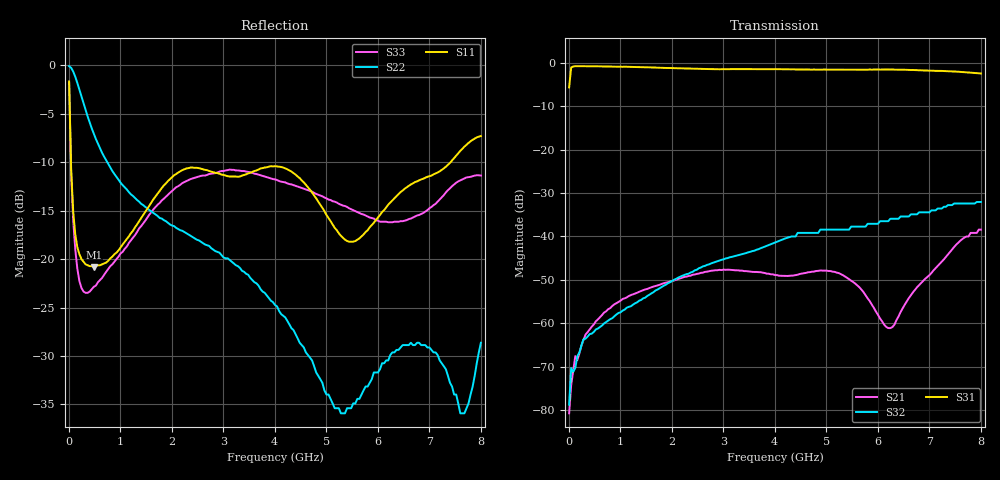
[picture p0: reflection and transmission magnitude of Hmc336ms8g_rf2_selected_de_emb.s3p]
!Hittite Microwave Corporation
!20 Alpha Rd
!Chelmsford, MA 01824
!Tel: 978-250-3343
!Fax: 978-250-3373
!Device: HMC336MS8G, DC - 6 GHz  SPDT Switch in  MSOP8G SMT package
!Misc: Port1=RFC, Port2= RF1, Port3=RF2, RF2 ON, Data taken on a part mounted on 104122-5 Eval PCB,Bias: +5VDC
# MHZ S MA R 50
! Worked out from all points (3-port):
!   201 points, 10 MHz to 8 GHz, reference 50 ohm
!   strongest paths, dB at 10 MHz, 2.007 GHz, 4.005 GHz, 6.003 GHz, 8 GHz:
!     S31: -5.6, -1.2, -1.4, -1.5, -2.4
!     S32: -78.8, -50.3, -41.4, -37.1, -32.0
!     S21: -80.8, -50.3, -48.9, -58.1, -38.4
!   lowest |S11| = -20.8 dB at 489.4 MHz (marker M1), VSWR 1.20, Z = 59.9 - j1.33 ohm
!   |S11| at or under -10 dB: 46.28 MHz to 7.411 GHz (7.364 GHz wide, 198 % of centre)
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10  0.826 -31.2  5.727e-05 -112.5  0.521 55.4
    9.139e-05 -88.1  0.991 -2.2  0.0002287 118.2
    0.523 55.3  0.0001149 -76.8  0.812 -32.6
49.95  0.287 -58.1  0.0002672 114.9  0.886 14.8
       0.0001933 105.2  0.971 -11.3  0.0003561 76.5
       0.888 14.7  0.0003028 77.4  0.275 -63.7
169.8  0.115 -37.5  0.0003639 66.4  0.919 -0.1
       0.000376 68.4  0.811 -33.4  0.000445 51.3
       0.92 -0.2  0.0004166 52.8  0.089 -47.3
489.4  0.091 -6.9  0.000974 71.0  0.915 -12.3
       0.0009672 70.2  0.444 -57.8  0.0008065 60.1
       0.916 -12.4  0.0007939 59.0  0.072 -0.5
2207.25  0.288 3.9  0.003341 52.3  0.869 -60.1
         0.003356 52.2  0.14 -37.2  0.003523 78.9
         0.868 -60.1  0.003523 78.9  0.247 20.9
4005  0.302 -34.3  0.003585 17.6  0.851 -106.9
      0.003589 17.4  0.058 -12.5  0.008552 62.1
      0.85 -107.0  0.008523 62.1  0.258 -9.6
5283.4  0.132 -85.7  0.003707 -14.9  0.84 -142.1
        0.003683 -15.0  0.016 -72.8  0.012 36.3
        0.839 -142.2  0.012 36.2  0.191 -52.3
6242.2  0.196 -116.1  0.0008698 -134.3  0.843 -170.4
        0.0008778 -134.8  0.032 -143.1  0.016 28.8
        0.841 -170.4  0.016 28.6  0.155 -80.3
7680.4  0.381 -168.8  0.009769 119.3  0.787 142.6
        0.009725 119.2  0.016 -74.5  0.024 3.5
        0.785 142.7  0.024 3.7  0.261 -101.9
8000  0.432 -178.8  0.012 101.4  0.759 132.8
      0.012 101.4  0.037 -9.5  0.025 -1.5
      0.758 132.7  0.025 -1.4  0.27 -110.0
